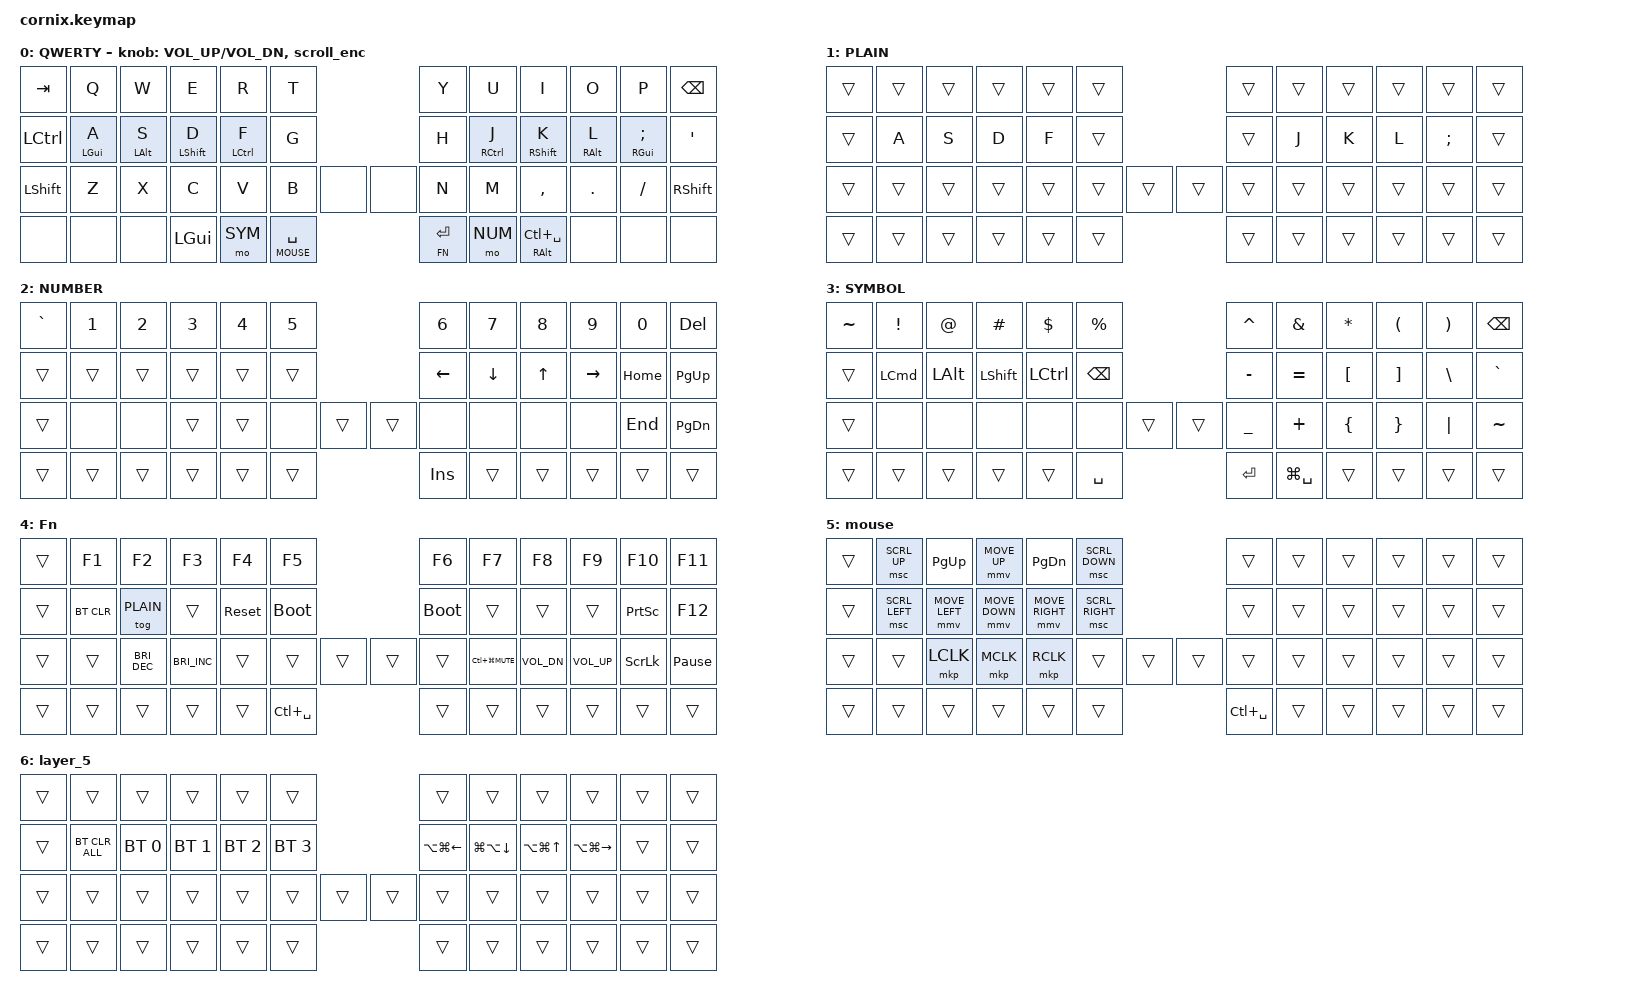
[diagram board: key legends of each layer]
/*
 * Copyright (c) 2020 The ZMK Contributors
 *
 * SPDX-License-Identifier: MIT
 */

#include <behaviors.dtsi>
#include <dt-bindings/zmk/bt.h>
#include <dt-bindings/zmk/keys.h>
#include <dt-bindings/zmk/pointing.h>

#define BASE 0
#define PLAIN 1
#define NUM 2
#define SYM 3
#define FN 4
#define MOUSE 5
#define SYS 6

// Key positions (LAYOUT_50):
//  0  1  2  3  4  5                  6  7  8  9 10 11
// 12 13 14 15 16 17                 18 19 20 21 22 23
// 24 25 26 27 28 29 30           31 32 33 34 35 36 37
// 38 39 40 41 42 43                 44 45 46 47 48 49
// 38-40 and 47-49 are the extra bottom keys; 41-46 are the thumb keys.
#define KEYS_L 0 1 2 3 4 5 12 13 14 15 16 17 24 25 26 27 28 29 30 38 39 40
#define KEYS_R 6 7 8 9 10 11 18 19 20 21 22 23 31 32 33 34 35 36 37 47 48 49
#define THUMBS 41 42 43 44 45 46

/ {
    behaviors {
        td0: td0 {
            compatible = "zmk,behavior-tap-dance";
            label = "TD0";
            #binding-cells = <0>;
            bindings = <&kp LEFT_SHIFT>, <&kp CAPS>;
        };

        esc_dance: esc_dance {
            compatible = "zmk,behavior-tap-dance";
            label = "ESC_DANCE";
            #binding-cells = <0>;
            bindings = <&kp LCTRL>, <&kp ESC>;
        };

        // Home row mods: a key acts as a modifier only when held together with
        // a key on the other hand or a thumb key, and never during fast typing.
        hml: homerow_mods_left {
            compatible = "zmk,behavior-hold-tap";
            #binding-cells = <2>;
            bindings = <&kp>, <&kp>;
            flavor = "balanced";
            tapping-term-ms = <280>;
            quick-tap-ms = <175>;
            require-prior-idle-ms = <150>;
            hold-trigger-key-positions = <KEYS_R THUMBS>;
            hold-trigger-on-release;
        };

        hmr: homerow_mods_right {
            compatible = "zmk,behavior-hold-tap";
            #binding-cells = <2>;
            bindings = <&kp>, <&kp>;
            flavor = "balanced";
            tapping-term-ms = <280>;
            quick-tap-ms = <175>;
            require-prior-idle-ms = <150>;
            hold-trigger-key-positions = <KEYS_L THUMBS>;
            hold-trigger-on-release;
        };

        scroll_enc: scroll_encoder {
            compatible = "zmk,behavior-sensor-rotate";
            #sensor-binding-cells = <0>;
            bindings = <&msc SCRL_DOWN>, <&msc SCRL_UP>;
            tap-ms = <30>;
        };
    };

    combos {
        compatible = "zmk,combos";

        esc_combo {
            bindings = <&kp ESC>;
            key-positions = <19 20>;
            layers = <BASE PLAIN>;
        };

        layer_5 {
            bindings = <&mo SYS>;
            key-positions = <42 45>;
        };

        newHangul {
            bindings = <&kp LC(SPACE)>;
            key-positions = <43 44>;
            layers = <BASE PLAIN>;
        };
    };

    keymap {
        compatible = "zmk,keymap";

        default_layer {
            display-name = "QWERTY";

            // --------------------------------------------------------------------------------
            // |  TAB |  Q  |  W  |  E  |  R  |  T  |   |  Y  |  U   |  I  |  O  |  P  | BKSP |
            // | CTRL |  A  |  S  |  D  |  F  |  G  |   |  H  |  J   |  K  |  L  |  ;  |  '   |
            // | SHFT |  Z  |  X  |  C  |  V  |  B  |   |  N  |  M   |  ,  |  .  |  /  | SHFT |
            //                    | GUI | SYM | SPC |   | ENT | NUM  | ALT |
            // Hold A S D F / J K L ; for CMD ALT SHFT CTRL / CTRL SHFT ALT CMD.
            // Encoders: left = volume, right = scroll.

            bindings = <
&kp TAB         &kp Q          &kp W         &kp E          &kp R          &kp T                                     &kp Y           &kp U          &kp I                    &kp O         &kp P          &kp BSPC
&kp LCTRL       &hml LGUI A    &hml LALT S   &hml LSHFT D   &hml LCTRL F   &kp G                                     &kp H           &hmr RCTRL J   &hmr RSHFT K             &hmr RALT L   &hmr RGUI SEMI &kp SQT
&kp LEFT_SHIFT  &kp Z          &kp X         &kp C          &kp V          &kp B              &none         &none    &kp N           &kp M          &kp COMMA                &kp DOT       &kp FSLH       &kp RIGHT_SHIFT
&none           &none          &none         &kp LGUI       &mo SYM        &lt MOUSE SPACE                           &lt FN ENTER    &mo NUM        &mt RIGHT_ALT LC(SPACE)  &none         &none          &none
            >;

            sensor-bindings = <&inc_dec_kp C_VOL_UP C_VOL_DN &scroll_enc>;
        };

        plain_layer {
            display-name = "PLAIN";

            // Base layer without home row mods. Toggle from the Fn layer.

            bindings = <
&trans  &trans  &trans  &trans  &trans  &trans                    &trans  &trans  &trans  &trans  &trans    &trans
&trans  &kp A   &kp S   &kp D   &kp F   &trans                    &trans  &kp J   &kp K   &kp L   &kp SEMI  &trans
&trans  &trans  &trans  &trans  &trans  &trans  &trans    &trans  &trans  &trans  &trans  &trans  &trans    &trans
&trans  &trans  &trans  &trans  &trans  &trans                    &trans  &trans  &trans  &trans  &trans    &trans
            >;
        };

        lower_layer {
            display-name = "NUMBER";

            // &none keys are RGB controls on the corne; Cornix builds without underglow.

            bindings = <
&kp GRAVE  &kp N1  &kp N2  &kp N3  &kp N4  &kp N5                     &kp N6           &kp N7          &kp N8        &kp N9           &kp N0    &kp DELETE
&trans     &trans  &trans  &trans  &trans  &trans                     &kp LEFT_ARROW   &kp DOWN_ARROW  &kp UP_ARROW  &kp RIGHT_ARROW  &kp HOME  &kp PG_UP
&trans     &none   &none   &trans  &trans  &none   &trans    &trans   &none            &none           &none         &none            &kp END   &kp PG_DN
&trans     &trans  &trans  &trans  &trans  &trans                     &kp INS          &trans          &trans        &trans           &trans    &trans
            >;
        };

        raise_layer {
            display-name = "SYMBOL";

            bindings = <
&kp TILDE  &kp EXCL          &kp AT        &kp HASH        &kp DLLR   &kp PRCNT                         &kp CARET  &kp AMPS       &kp ASTRK  &kp LPAR  &kp RPAR  &kp BSPC
&trans     &kp LEFT_COMMAND  &kp LEFT_ALT  &kp LEFT_SHIFT  &kp LCTRL  &kp BACKSPACE                     &kp MINUS  &kp EQUAL      &kp LBKT   &kp RBKT  &kp BSLH  &kp GRAVE
&trans     &none             &none         &none           &none      &none          &trans    &trans   &kp UNDER  &kp PLUS       &kp LBRC   &kp RBRC  &kp PIPE  &kp TILDE
&trans     &trans            &trans        &trans          &trans     &kp SPACE                         &kp RET    &kp LG(SPACE)  &trans     &trans    &trans    &trans
            >;
        };

        layer_3 {
            display-name = "Fn";

            bindings = <
&trans  &kp F1      &kp F2         &kp F3         &kp F4      &kp F5                             &kp F6       &kp F7              &kp F8        &kp F9           &kp F10          &kp F11
&trans  &bt BT_CLR  &tog PLAIN     &trans         &sys_reset  &bootloader                        &bootloader  &trans              &trans        &trans           &kp PRINTSCREEN  &kp F12
&trans  &trans      &kp C_BRI_DEC  &kp C_BRI_INC  &trans      &trans         &trans    &trans    &trans       &kp LC(LG(K_MUTE))  &kp C_VOL_DN  &kp C_VOLUME_UP  &kp SCROLLLOCK   &kp PAUSE_BREAK
&trans  &trans      &trans         &trans         &trans      &kp LC(SPACE)                      &trans       &trans              &trans        &trans           &trans           &trans
            >;
        };

        mouse {
            bindings = <
&trans  &msc SCRL_UP    &kp PAGE_UP     &mmv MOVE_UP    &kp PAGE_DOWN    &msc SCRL_DOWN                       &trans         &trans  &trans  &trans  &trans  &trans
&trans  &msc SCRL_LEFT  &mmv MOVE_LEFT  &mmv MOVE_DOWN  &mmv MOVE_RIGHT  &msc SCRL_RIGHT                      &trans         &trans  &trans  &trans  &trans  &trans
&trans  &trans          &mkp LCLK       &mkp MCLK       &mkp RCLK        &trans           &trans    &trans    &trans         &trans  &trans  &trans  &trans  &trans
&trans  &trans          &trans          &trans          &trans           &trans                               &kp LC(SPACE)  &trans  &trans  &trans  &trans  &trans
            >;
        };

        layer_5 {
            bindings = <
&trans  &trans          &trans        &trans        &trans        &trans                       &trans            &trans                  &trans                &trans             &trans  &trans
&trans  &bt BT_CLR_ALL  &bt BT_SEL 0  &bt BT_SEL 1  &bt BT_SEL 2  &bt BT_SEL 3                 &kp LA(LG(LEFT))  &kp LG(LA(DOWN_ARROW))  &kp LA(LG(UP_ARROW))  &kp LA(LG(RIGHT))  &trans  &trans
&trans  &trans          &trans        &trans        &trans        &trans        &trans  &trans &trans            &trans                  &trans                &trans             &trans  &trans
&trans  &trans          &trans        &trans        &trans        &trans                       &trans            &trans                  &trans                &trans             &trans  &trans
            >;
        };
    };
};
